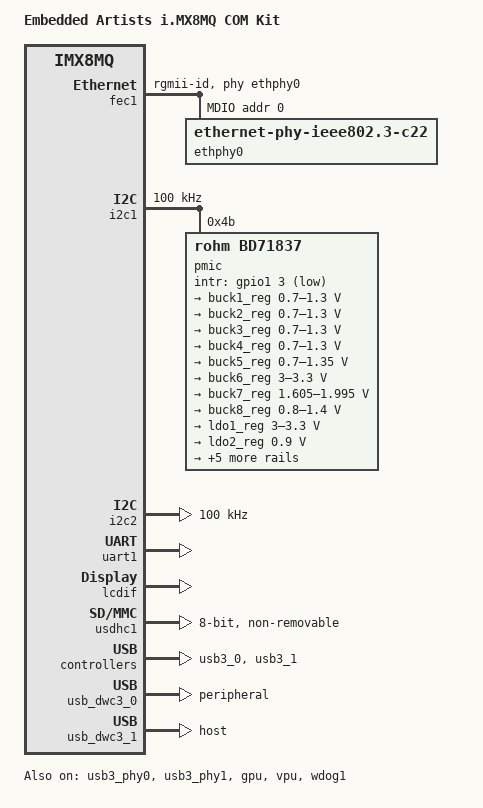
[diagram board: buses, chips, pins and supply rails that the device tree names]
/*
 * Copyright (C) 2016 Freescale Semiconductor, Inc.
 * Copyright 2017 NXP
 *
 * This program is free software; you can redistribute it and/or
 * modify it under the terms of the GNU General Public License
 * as published by the Free Software Foundation; either version 2
 * of the License, or (at your option) any later version.
 *
 * This program is distributed in the hope that it will be useful,
 * but WITHOUT ANY WARRANTY; without even the implied warranty of
 * MERCHANTABILITY or FITNESS FOR A PARTICULAR PURPOSE.  See the
 * GNU General Public License for more details.
 */

/dts-v1/;

/* First 128KB is for PSCI ATF. */
/memreserve/ 0x40000000 0x00020000;

#include "fsl-imx8mq.dtsi"
#include "fsl-imx8mq-u-boot.dtsi"

/ {
	model = "Embedded Artists i.MX8MQ COM Kit";
	compatible = "fsl,imx8mqea-com", "fsl,imx8mq";

	chosen {
		bootargs = "console=ttymxc0,115200 earlycon=ec_imx6q,0x30860000,115200";
		stdout-path = &uart1;
	};

};

&iomuxc {
	pinctrl-names = "default";

	imx8mqea-com-kit {
		pinctrl_fec1: fec1grp {
			fsl,pins = <
				MX8MQ_IOMUXC_ENET_MDC_ENET1_MDC		0x3
				MX8MQ_IOMUXC_ENET_MDIO_ENET1_MDIO	0x23
				MX8MQ_IOMUXC_ENET_TD3_ENET1_RGMII_TD3	0x1f
				MX8MQ_IOMUXC_ENET_TD2_ENET1_RGMII_TD2	0x1f
				MX8MQ_IOMUXC_ENET_TD1_ENET1_RGMII_TD1	0x1f
				MX8MQ_IOMUXC_ENET_TD0_ENET1_RGMII_TD0	0x1f
				MX8MQ_IOMUXC_ENET_RD3_ENET1_RGMII_RD3	0x91
				MX8MQ_IOMUXC_ENET_RD2_ENET1_RGMII_RD2	0x91
				MX8MQ_IOMUXC_ENET_RD1_ENET1_RGMII_RD1	0x91
				MX8MQ_IOMUXC_ENET_RD0_ENET1_RGMII_RD0	0x91
				MX8MQ_IOMUXC_ENET_TXC_ENET1_RGMII_TXC	0x1f
				MX8MQ_IOMUXC_ENET_RXC_ENET1_RGMII_RXC	0x91
				MX8MQ_IOMUXC_ENET_RX_CTL_ENET1_RGMII_RX_CTL	0x91
				MX8MQ_IOMUXC_ENET_TX_CTL_ENET1_RGMII_TX_CTL	0x1f
				MX8MQ_IOMUXC_GPIO1_IO09_GPIO1_IO9	0x19
			>;
		};

		pinctrl_i2c1: i2c1grp {
			fsl,pins = <
				MX8MQ_IOMUXC_I2C1_SCL_I2C1_SCL			0x4000007f
				MX8MQ_IOMUXC_I2C1_SDA_I2C1_SDA			0x4000007f
			>;
		};

		pinctrl_i2c2: i2c2grp {
			fsl,pins = <
				MX8MQ_IOMUXC_I2C2_SCL_I2C2_SCL			0x4000007f
				MX8MQ_IOMUXC_I2C2_SDA_I2C2_SDA			0x4000007f
			>;
		};

		pinctrl_uart1: uart1grp {
			fsl,pins = <
				MX8MQ_IOMUXC_UART1_RXD_UART1_DCE_RX		0x79
				MX8MQ_IOMUXC_UART1_TXD_UART1_DCE_TX		0x79
			>;
		};

		pinctrl_usdhc1: usdhc1grp {
			fsl,pins = <
				MX8MQ_IOMUXC_SD1_CLK_USDHC1_CLK			0x83
				MX8MQ_IOMUXC_SD1_CMD_USDHC1_CMD			0xc3
				MX8MQ_IOMUXC_SD1_DATA0_USDHC1_DATA0		0xc3
				MX8MQ_IOMUXC_SD1_DATA1_USDHC1_DATA1		0xc3
				MX8MQ_IOMUXC_SD1_DATA2_USDHC1_DATA2		0xc3
				MX8MQ_IOMUXC_SD1_DATA3_USDHC1_DATA3		0xc3
				MX8MQ_IOMUXC_SD1_DATA4_USDHC1_DATA4		0xc3
				MX8MQ_IOMUXC_SD1_DATA5_USDHC1_DATA5		0xc3
				MX8MQ_IOMUXC_SD1_DATA6_USDHC1_DATA6		0xc3
				MX8MQ_IOMUXC_SD1_DATA7_USDHC1_DATA7		0xc3
				MX8MQ_IOMUXC_SD1_STROBE_USDHC1_STROBE 		0x83
				MX8MQ_IOMUXC_SD1_RESET_B_USDHC1_RESET_B		0xc1
			>;
		};

		pinctrl_usdhc1_100mhz: usdhc1grp100mhz {
			fsl,pins = <
				MX8MQ_IOMUXC_SD1_CLK_USDHC1_CLK			0x8d
				MX8MQ_IOMUXC_SD1_CMD_USDHC1_CMD			0xcd
				MX8MQ_IOMUXC_SD1_DATA0_USDHC1_DATA0		0xcd
				MX8MQ_IOMUXC_SD1_DATA1_USDHC1_DATA1		0xcd
				MX8MQ_IOMUXC_SD1_DATA2_USDHC1_DATA2		0xcd
				MX8MQ_IOMUXC_SD1_DATA3_USDHC1_DATA3		0xcd
				MX8MQ_IOMUXC_SD1_DATA4_USDHC1_DATA4		0xcd
				MX8MQ_IOMUXC_SD1_DATA5_USDHC1_DATA5		0xcd
				MX8MQ_IOMUXC_SD1_DATA6_USDHC1_DATA6		0xcd
				MX8MQ_IOMUXC_SD1_DATA7_USDHC1_DATA7		0xcd
				MX8MQ_IOMUXC_SD1_STROBE_USDHC1_STROBE 		0x8d
				MX8MQ_IOMUXC_SD1_RESET_B_USDHC1_RESET_B		0xc1
			>;
		};

		pinctrl_usdhc1_200mhz: usdhc1grp200mhz {
			fsl,pins = <
				MX8MQ_IOMUXC_SD1_CLK_USDHC1_CLK			0x9f
				MX8MQ_IOMUXC_SD1_CMD_USDHC1_CMD			0xdf
				MX8MQ_IOMUXC_SD1_DATA0_USDHC1_DATA0		0xdf
				MX8MQ_IOMUXC_SD1_DATA1_USDHC1_DATA1		0xdf
				MX8MQ_IOMUXC_SD1_DATA2_USDHC1_DATA2		0xdf
				MX8MQ_IOMUXC_SD1_DATA3_USDHC1_DATA3		0xdf
				MX8MQ_IOMUXC_SD1_DATA4_USDHC1_DATA4		0xdf
				MX8MQ_IOMUXC_SD1_DATA5_USDHC1_DATA5		0xdf
				MX8MQ_IOMUXC_SD1_DATA6_USDHC1_DATA6		0xdf
				MX8MQ_IOMUXC_SD1_DATA7_USDHC1_DATA7		0xdf
				MX8MQ_IOMUXC_SD1_STROBE_USDHC1_STROBE 		0x9f
				MX8MQ_IOMUXC_SD1_RESET_B_USDHC1_RESET_B		0xc1
			>;
		};

		pinctrl_wdog: wdoggrp {
			fsl,pins = <
				MX8MQ_IOMUXC_GPIO1_IO02_WDOG1_WDOG_B 0xc6
			>;
		};

		pinctrl_pmic: pmicirq {
			fsl,pins = <
				MX8MQ_IOMUXC_GPIO1_IO03_GPIO1_IO3               0x41
			>;
		};


	};
};

&fec1 {
	pinctrl-names = "default";
	pinctrl-0 = <&pinctrl_fec1>;
	phy-mode = "rgmii-id";
	phy-handle = <&ethphy0>;
	fsl,magic-packet;
	status = "okay";

	mdio {
		#address-cells = <1>;
		#size-cells = <0>;

		ethphy0: ethernet-phy@0 {
			compatible = "ethernet-phy-ieee802.3-c22";
			reg = <0>;
			at803x,led-act-blind-workaround;
			at803x,eee-disabled;
		};
	};
};

&i2c1 {
	clock-frequency = <100000>;
	pinctrl-names = "default";
	pinctrl-0 = <&pinctrl_i2c1>;
	status = "okay";

	pmic: bd71837@4b {
		reg = <0x4b>;
		compatible = "rohm,bd71837";
		/* PMIC BD71837 PMIC_nINT GPIO1_IO3 */
		pinctrl-0 = <&pinctrl_pmic>;
		gpio_intr = <&gpio1 3 GPIO_ACTIVE_LOW>;

		gpo {
			rohm,drv = <0x0C>;	/* 0b0000_1100 all gpos with cmos output mode */
		};

		regulators {
			#address-cells = <1>;
			#size-cells = <0>;

			bd71837,pmic-buck2-uses-i2c-dvs;
			bd71837,pmic-buck2-dvs-voltage = <1000000>, <900000>, <0>; /* VDD_ARM: Run-Idle */

			buck1_reg: regulator@0 {
				reg = <0>;
				regulator-compatible = "buck1";
				regulator-min-microvolt = <700000>;
				regulator-max-microvolt = <1300000>;
				regulator-boot-on;
				regulator-always-on;
				regulator-ramp-delay = <1250>;
			};

			buck2_reg: regulator@1 {
				reg = <1>;
				regulator-compatible = "buck2";
				regulator-min-microvolt = <700000>;
				regulator-max-microvolt = <1300000>;
				regulator-boot-on;
				regulator-always-on;
				regulator-ramp-delay = <1250>;
			};

			buck3_reg: regulator@2 {
				reg = <2>;
				regulator-compatible = "buck3";
				regulator-min-microvolt = <700000>;
				regulator-max-microvolt = <1300000>;
			};

			buck4_reg: regulator@3 {
				reg = <3>;
				regulator-compatible = "buck4";
				regulator-min-microvolt = <700000>;
				regulator-max-microvolt = <1300000>;
			};

			buck5_reg: regulator@4 {
				reg = <4>;
				regulator-compatible = "buck5";
				regulator-min-microvolt = <700000>;
				regulator-max-microvolt = <1350000>;
				regulator-boot-on;
				regulator-always-on;
			};

			buck6_reg: regulator@5 {
				reg = <5>;
				regulator-compatible = "buck6";
				regulator-min-microvolt = <3000000>;
				regulator-max-microvolt = <3300000>;
				regulator-boot-on;
				regulator-always-on;
			};

			buck7_reg: regulator@6 {
				reg = <6>;
				regulator-compatible = "buck7";
				regulator-min-microvolt = <1605000>;
				regulator-max-microvolt = <1995000>;
				regulator-boot-on;
				regulator-always-on;
			};

			buck8_reg: regulator@7 {
				reg = <7>;
				regulator-compatible = "buck8";
				regulator-min-microvolt = <800000>;
				regulator-max-microvolt = <1400000>;
				regulator-boot-on;
				regulator-always-on;
			};

			ldo1_reg: regulator@8 {
				reg = <8>;
				regulator-compatible = "ldo1";
				regulator-min-microvolt = <3000000>;
				regulator-max-microvolt = <3300000>;
				regulator-boot-on;
				regulator-always-on;
			};

			ldo2_reg: regulator@9 {
				reg = <9>;
				regulator-compatible = "ldo2";
				regulator-min-microvolt = <900000>;
				regulator-max-microvolt = <900000>;
				regulator-boot-on;
				regulator-always-on;
			};

			ldo3_reg: regulator@10 {
				reg = <10>;
				regulator-compatible = "ldo3";
				regulator-min-microvolt = <1800000>;
				regulator-max-microvolt = <3300000>;
				regulator-boot-on;
				regulator-always-on;
			};

			ldo4_reg: regulator@11 {
				reg = <11>;
				regulator-compatible = "ldo4";
				regulator-min-microvolt = <900000>;
				regulator-max-microvolt = <1800000>;
				regulator-boot-on;
				regulator-always-on;
			};

			ldo5_reg: regulator@12 {
				reg = <12>;
				regulator-compatible = "ldo5";
				regulator-min-microvolt = <1800000>;
				regulator-max-microvolt = <3300000>;
			};

			ldo6_reg: regulator@13 {
				reg = <13>;
				regulator-compatible = "ldo6";
				regulator-min-microvolt = <900000>;
				regulator-max-microvolt = <1800000>;
				regulator-boot-on;
				regulator-always-on;
			};

			ldo7_reg: regulator@14 {
				reg = <14>;
				regulator-compatible = "ldo7";
				regulator-min-microvolt = <1800000>;
				regulator-max-microvolt = <3300000>;
			};
		};
	};

};

&i2c2 {
	clock-frequency = <100000>;
	pinctrl-names = "default";
	pinctrl-0 = <&pinctrl_i2c2>;
	status = "okay";
};

&uart1 { /* console */
	pinctrl-names = "default";
	pinctrl-0 = <&pinctrl_uart1>;
	assigned-clocks = <&clk IMX8MQ_CLK_UART1_SRC>;
	assigned-clock-parents = <&clk IMX8MQ_CLK_25M>;
	status = "okay";
};

&lcdif {
	status = "okay";
	disp-dev = "mipi_dsi_northwest";
	display = <&display0>;

	display0: display@0 {
		bits-per-pixel = <24>;
		bus-width = <24>;

		display-timings {
			native-mode = <&timing0>;
			timing0: timing0 {
			clock-frequency = <9200000>;
			hactive = <480>;
			vactive = <272>;
			hfront-porch = <8>;
			hback-porch = <4>;
			hsync-len = <41>;
			vback-porch = <2>;
			vfront-porch = <4>;
			vsync-len = <10>;

			hsync-active = <0>;
			vsync-active = <0>;
			de-active = <1>;
			pixelclk-active = <0>;
			};
		};
	};
};

&usdhc1 {
	pinctrl-names = "default", "state_100mhz", "state_200mhz";
	pinctrl-0 = <&pinctrl_usdhc1>;
	pinctrl-1 = <&pinctrl_usdhc1_100mhz>;
	pinctrl-2 = <&pinctrl_usdhc1_200mhz>;
	bus-width = <8>;
	non-removable;
	status = "okay";
};

&usb3_phy0 {
	status = "okay";
};

&usb3_0 {
	status = "okay";
};

&usb_dwc3_0 {
	status = "okay";
	dr_mode = "peripheral";
};

&usb3_phy1 {
	status = "okay";
};

&usb3_1 {
	status = "okay";
};

&usb_dwc3_1 {
	status = "okay";
	dr_mode = "host";
};

&gpu {
	status = "okay";
};

&vpu {
	status = "okay";
};

&wdog1 {
	pinctrl-names = "default";
	pinctrl-0 = <&pinctrl_wdog>;
	fsl,ext-reset-output;
	status = "okay";
};
